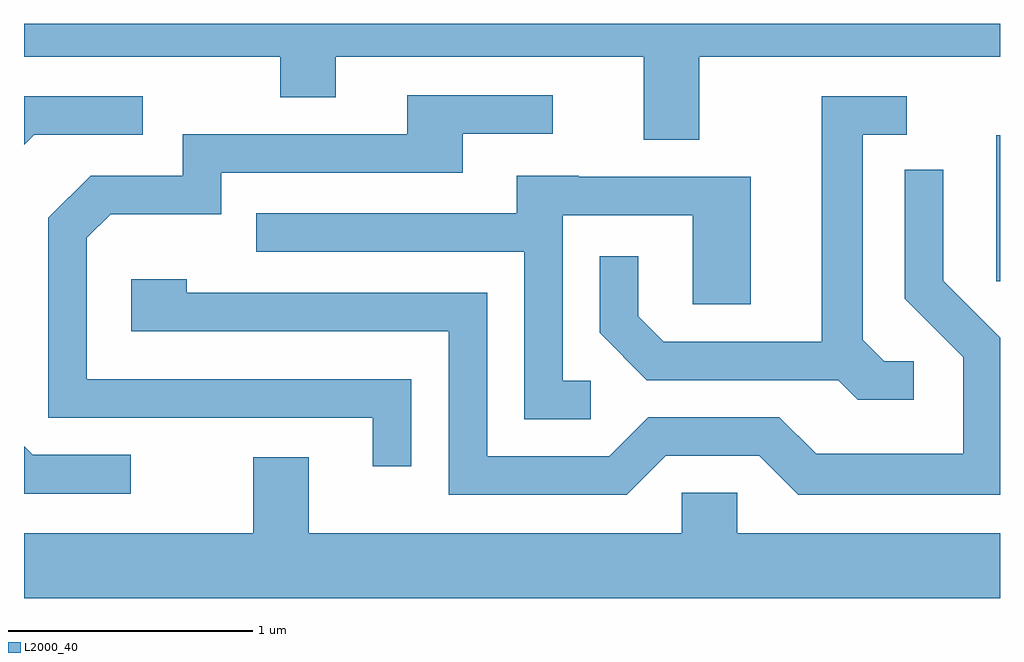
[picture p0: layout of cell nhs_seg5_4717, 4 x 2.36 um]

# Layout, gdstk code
import gdstk
lib = gdstk.Library(unit=1e-6, precision=1e-09)
def R(c, l, rs):  # rectangles x0, y0, x1, y1
    for r in rs: c.add(gdstk.rectangle(r[:2], r[2:], *l))
def P(c, l, *ps):  # polygons
    for p in ps: c.add(gdstk.Polygon(p, *l))
L2000_40 = (2000, 40)

nhs_seg5_4717 = lib.new_cell('nhs_seg5_4717')
R(nhs_seg5_4717, L2000_40, [(329.596,1427.016,329.611,1427.614)])
P(nhs_seg5_4717, L2000_40, [(328.379,1427.936),(329.611,1427.936),(329.611,1428.072),(325.611,1428.072),(325.611,1427.936),(326.661,1427.936),(326.661,1427.771),(326.889,1427.771),(326.889,1427.936),(328.151,1427.936),(328.151,1427.596),(328.379,1427.596)],
  [(327.199,1426.614),(325.869,1426.614),(325.869,1427.194),(325.967,1427.291),(326.419,1427.291),(326.419,1427.461),(327.409,1427.461),(327.409,1427.621),(327.778,1427.621),(327.778,1427.779),(327.181,1427.779),(327.181,1427.619),(326.261,1427.619),(326.261,1427.449),(325.884,1427.449),(325.711,1427.277),(325.711,1426.456),(327.041,1426.456),(327.041,1426.258),(327.199,1426.258)],
  [(329.258,1426.689),(329.137,1426.689),(329.049,1426.777),(329.049,1427.616),(329.228,1427.616),(329.228,1427.774),(328.881,1427.774),(328.881,1426.769),(328.232,1426.769),(328.129,1426.872),(328.129,1427.118),(327.971,1427.118),(327.971,1426.804),(328.164,1426.611),(328.949,1426.611),(329.029,1426.531),(329.258,1426.531)],
  [(325.652,1427.616),(326.098,1427.616),(326.098,1427.774),(325.611,1427.774),(325.611,1427.575)],
  [(328.242,1426.301),(328.624,1426.301),(328.784,1426.141),(329.611,1426.141),(329.611,1426.785),(329.379,1427.017),(329.379,1427.473),(329.221,1427.473),(329.221,1426.944),(329.461,1426.704),(329.461,1426.309),(328.857,1426.309),(328.707,1426.459),(328.169,1426.459),(328.009,1426.299),(327.509,1426.299),(327.509,1426.969),(326.279,1426.969),(326.279,1427.024),(326.051,1427.024),(326.051,1426.811),(327.351,1426.811),(327.351,1426.141),(328.082,1426.141)],
  [(327.933,1426.609),(327.819,1426.609),(327.819,1427.286),(328.351,1427.286),(328.351,1426.921),(328.589,1426.921),(328.589,1427.444),(327.885,1427.444),(327.885,1427.449),(327.631,1427.449),(327.631,1427.294),(326.563,1427.294),(326.563,1427.136),(327.661,1427.136),(327.661,1426.451),(327.933,1426.451)],
  [(326.048,1426.304),(325.647,1426.304),(325.611,1426.34),(325.611,1426.146),(326.048,1426.146)],
  [(329.611,1425.984),(328.534,1425.984),(328.534,1426.149),(328.306,1426.149),(328.306,1425.984),(326.779,1425.984),(326.779,1426.294),(326.551,1426.294),(326.551,1425.984),(325.611,1425.984),(325.611,1425.716),(329.611,1425.716)])

lib.write_gds('nhs_seg5_4717.gds')
